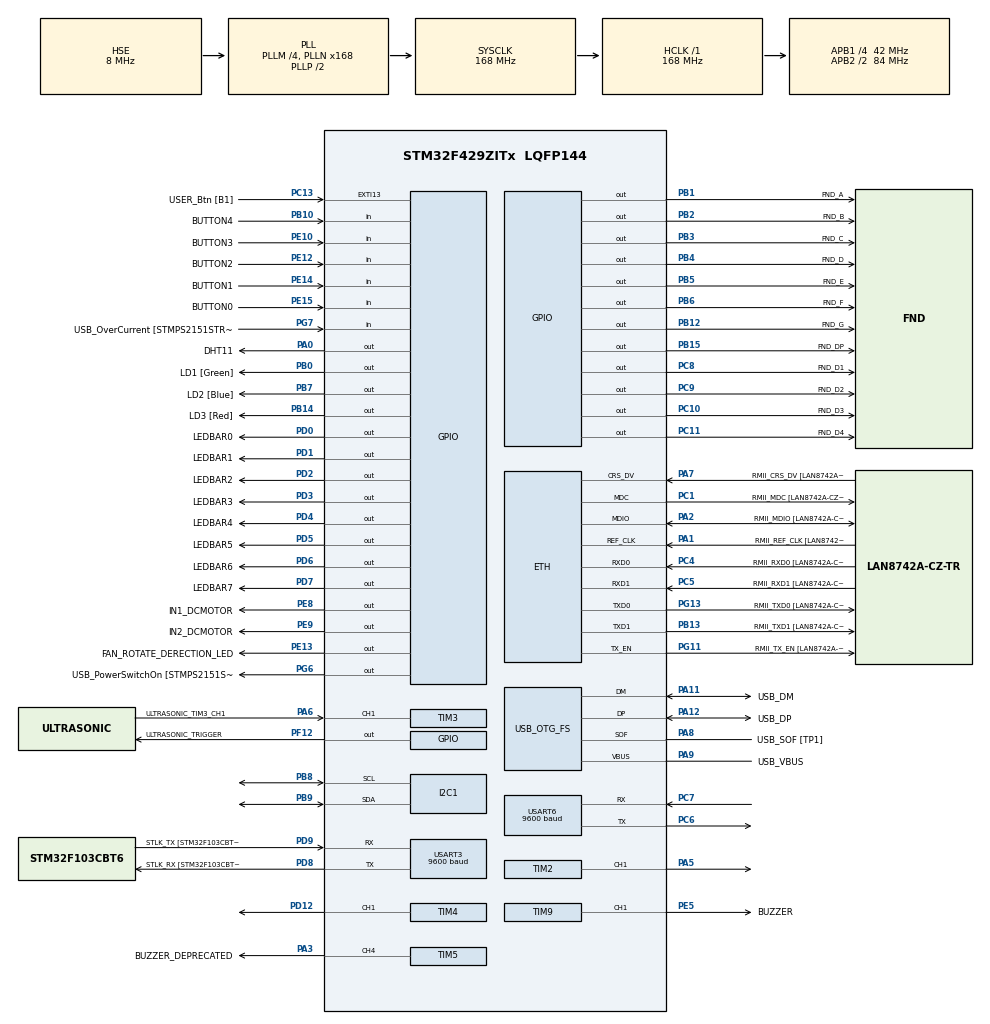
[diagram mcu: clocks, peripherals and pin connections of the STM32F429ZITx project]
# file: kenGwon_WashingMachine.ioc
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ETH.MediaInterface=HAL_ETH_RMII_MODE
ETH.PHY_Name=LAN8742A_PHY_ADDRESS
ETH.PHY_Value=0
ETH.PhyAddress=0
Mcu.Family=STM32F4
Mcu.Name=STM32F429ZITx
Mcu.Package=LQFP144
NVIC.PriorityGroup=NVIC_PRIORITYGROUP_4
NVIC.TIM1_BRK_TIM9_IRQn=true\:0\:0\:false\:false\:true\:true\:true\:true
NVIC.TIM1_TRG_COM_TIM11_IRQn=true\:0\:0\:false\:false\:true\:true\:true\:true
NVIC.TIM1_UP_TIM10_IRQn=true\:0\:0\:false\:false\:true\:true\:true\:true
NVIC.TIM2_IRQn=true\:0\:0\:false\:false\:true\:true\:true\:true
NVIC.TIM3_IRQn=true\:0\:0\:false\:false\:true\:true\:true\:true
NVIC.TIM5_IRQn=true\:0\:0\:false\:false\:true\:true\:true\:true
NVIC.USART3_IRQn=true\:0\:0\:false\:false\:true\:true\:true\:true
NVIC.USART6_IRQn=true\:0\:0\:false\:false\:true\:true\:true\:true
PA0/WKUP.GPIO_Label=DHT11
PA0/WKUP.Signal=GPIO_Output
PA1.GPIO_Label=RMII_REF_CLK [LAN8742A-CZ-TR_REFCLK0]
PA1.Mode=RMII
PA1.Signal=ETH_REF_CLK
PA10.GPIO_Label=USB_ID
PA10.Signal=USB_OTG_FS_ID
PA11.GPIO_Label=USB_DM
PA11.Mode=Device_Only
PA11.Signal=USB_OTG_FS_DM
PA12.GPIO_Label=USB_DP
PA12.Mode=Device_Only
PA12.Signal=USB_OTG_FS_DP
PA13.GPIO_Label=TMS
PA13.Mode=Serial_Wire
PA13.Signal=SYS_JTMS-SWDIO
PA14.GPIO_Label=TCK
PA14.Mode=Serial_Wire
PA14.Signal=SYS_JTCK-SWCLK
PA2.GPIO_Label=RMII_MDIO [LAN8742A-CZ-TR_MDIO]
PA2.Mode=RMII
PA2.Signal=ETH_MDIO
PA3.GPIO_Label=BUZZER_DEPRECATED
PA3.Signal=S_TIM5_CH4
PA5.Signal=S_TIM2_CH1_ETR
PA6.GPIO_Label=ULTRASONIC_TIM3_CH1
PA6.Signal=S_TIM3_CH1
PA7.GPIO_Label=RMII_CRS_DV [LAN8742A-CZ-TR_CRS_DV]
PA7.Mode=RMII
PA7.Signal=ETH_CRS_DV
PA8.GPIO_Label=USB_SOF [TP1]
PA8.Mode=Activate_SOF_FS
PA8.Signal=USB_OTG_FS_SOF
PA9.GPIO_Label=USB_VBUS
PA9.Mode=Activate_VBUS
PA9.Signal=USB_OTG_FS_VBUS
PB0.GPIO_Label=LD1 [Green]
PB0.Signal=GPIO_Output
PB1.GPIO_Label=FND_A
PB1.Signal=GPIO_Output
PB10.GPIO_Label=BUTTON4
PB10.Signal=GPIO_Input
PB12.GPIO_Label=FND_G
PB12.Signal=GPIO_Output
PB13.GPIO_Label=RMII_TXD1 [LAN8742A-CZ-TR_TXD1]
PB13.Mode=RMII
PB13.Signal=ETH_TXD1
PB14.GPIO_Label=LD3 [Red]
PB14.Signal=GPIO_Output
PB15.GPIO_Label=FND_DP
PB15.Signal=GPIO_Output
PB2/BOOT1.GPIO_Label=FND_B
PB2/BOOT1.Signal=GPIO_Output
PB3.GPIO_Label=FND_C
PB3.Signal=GPIO_Output
PB4.GPIO_Label=FND_D
PB4.Signal=GPIO_Output
PB5.GPIO_Label=FND_E
PB5.Signal=GPIO_Output
PB6.GPIO_Label=FND_F
PB6.Signal=GPIO_Output
PB7.GPIO_Label=LD2 [Blue]
PB7.Signal=GPIO_Output
PB8.Mode=I2C
PB8.Signal=I2C1_SCL
PB9.Mode=I2C
PB9.Signal=I2C1_SDA
PC1.GPIO_Label=RMII_MDC [LAN8742A-CZ-TR_MDC]
PC1.Mode=RMII
PC1.Signal=ETH_MDC
PC10.GPIO_Label=FND_D3
PC10.Signal=GPIO_Output
PC11.GPIO_Label=FND_D4
PC11.Signal=GPIO_Output
PC13.GPIO_Label=USER_Btn [B1]
PC13.Signal=GPXTI13
PC14/OSC32_IN.Mode=LSE-External-Oscillator
PC14/OSC32_IN.Signal=RCC_OSC32_IN
PC15/OSC32_OUT.Mode=LSE-External-Oscillator
PC15/OSC32_OUT.Signal=RCC_OSC32_OUT
PC4.GPIO_Label=RMII_RXD0 [LAN8742A-CZ-TR_RXD0]
PC4.Mode=RMII
PC4.Signal=ETH_RXD0
PC5.GPIO_Label=RMII_RXD1 [LAN8742A-CZ-TR_RXD1]
PC5.Mode=RMII
PC5.Signal=ETH_RXD1
PC6.Mode=Asynchronous
PC6.Signal=USART6_TX
PC7.Mode=Asynchronous
PC7.Signal=USART6_RX
PC8.GPIO_Label=FND_D1
PC8.Signal=GPIO_Output
PC9.GPIO_Label=FND_D2
PC9.Signal=GPIO_Output
PD0.GPIO_Label=LEDBAR0
PD0.Signal=GPIO_Output
PD1.GPIO_Label=LEDBAR1
PD1.Signal=GPIO_Output
PD12.Signal=S_TIM4_CH1
PD2.GPIO_Label=LEDBAR2
PD2.Signal=GPIO_Output
PD3.GPIO_Label=LEDBAR3
PD3.Signal=GPIO_Output
PD4.GPIO_Label=LEDBAR4
PD4.Signal=GPIO_Output
PD5.GPIO_Label=LEDBAR5
PD5.Signal=GPIO_Output
PD6.GPIO_Label=LEDBAR6
PD6.Signal=GPIO_Output
PD7.GPIO_Label=LEDBAR7
PD7.Signal=GPIO_Output
PD8.GPIO_Label=STLK_RX [STM32F103CBT6_PA3]
PD8.Mode=Asynchronous
PD8.Signal=USART3_TX
PD9.GPIO_Label=STLK_TX [STM32F103CBT6_PA2]
PD9.Mode=Asynchronous
PD9.Signal=USART3_RX
PE10.GPIO_Label=BUTTON3
PE10.Signal=GPIO_Input
PE12.GPIO_Label=BUTTON2
PE12.Signal=GPIO_Input
PE13.GPIO_Label=FAN_ROTATE_DERECTION_LED
PE13.Signal=GPIO_Output
PE14.GPIO_Label=BUTTON1
PE14.Signal=GPIO_Input
PE15.GPIO_Label=BUTTON0
PE15.Signal=GPIO_Input
PE5.GPIO_Label=BUZZER
PE5.Signal=S_TIM9_CH1
PE8.GPIO_Label=IN1_DCMOTOR
PE8.Signal=GPIO_Output
PE9.GPIO_Label=IN2_DCMOTOR
PE9.Signal=GPIO_Output
PF12.GPIO_Label=ULTRASONIC_TRIGGER
PF12.Signal=GPIO_Output
PG11.GPIO_Label=RMII_TX_EN [LAN8742A-CZ-TR_TXEN]
PG11.Mode=RMII
PG11.Signal=ETH_TX_EN
PG13.GPIO_Label=RMII_TXD0 [LAN8742A-CZ-TR_TXD0]
PG13.Mode=RMII
PG13.Signal=ETH_TXD0
PG6.GPIO_Label=USB_PowerSwitchOn [STMPS2151STR_EN]
PG6.Signal=GPIO_Output
PG7.GPIO_Label=USB_OverCurrent [STMPS2151STR_FAULT]
PG7.Signal=GPIO_Input
PH0/OSC_IN.GPIO_Label=MCO [STM32F103CBT6_PA8]
PH0/OSC_IN.Mode=HSE-External-Clock-Source
PH0/OSC_IN.Signal=RCC_OSC_IN
PH1/OSC_OUT.Mode=HSE-External-Clock-Source
PH1/OSC_OUT.Signal=RCC_OSC_OUT
ProjectManager.HeapSize=0x200
ProjectManager.StackSize=0x400
ProjectManager.TargetToolchain=STM32CubeIDE
RCC.48MHZClocksFreq_Value=48000000
RCC.AHBFreq_Value=168000000
RCC.APB1CLKDivider=RCC_HCLK_DIV4
RCC.APB1Freq_Value=42000000
RCC.APB1TimFreq_Value=84000000
RCC.APB2CLKDivider=RCC_HCLK_DIV2
RCC.APB2Freq_Value=84000000
RCC.APB2TimCLKDivider=2
RCC.APB2TimFreq_Value=168000000
RCC.CortexFreq_Value=168000000
RCC.HCLKFreq_Value=168000000
RCC.HSE_VALUE=8000000
RCC.HSI_VALUE=16000000
RCC.PLLM=4
RCC.PLLMUL=RCC_PLL_MUL9
RCC.PLLN=168
RCC.PLLQ=7
RCC.PRESCALERUSB=RCC_USBCLKSOURCE_PLL_DIV1_5
RCC.SYSCLKFreq_VALUE=168000000
RCC.SYSCLKSource=RCC_SYSCLKSOURCE_PLLCLK
RCC.SYSCLKSourceVirtual=RCC_SYSCLKSOURCE_PLLCLK
RCC.USBFreq_Value=48000000
RCC.VCOOutputFreq_Value=336000000
RTC.Date=16
RTC.Hours=8
RTC.Minutes=38
RTC.Month=RTC_MONTH_OCTOBER
RTC.Seconds=15
RTC.Year=23
SH.S_TIM2_CH1_ETR.0=TIM2_CH1,PWM Generation1 CH1
SH.S_TIM3_CH1.0=TIM3_CH1,Input_Capture1_from_TI1
SH.S_TIM4_CH1.0=TIM4_CH1,PWM Generation1 CH1
SH.S_TIM5_CH4.0=TIM5_CH4,PWM Generation4 CH4
SH.S_TIM9_CH1.0=TIM9_CH1,PWM Generation1 CH1
TIM10.Period=10000-1
TIM10.Prescaler=168-1
TIM11.Prescaler=168-1
TIM2.Channel-PWM\ Generation1\ CH1=TIM_CHANNEL_1
TIM2.Period=1000-1
TIM2.Prescaler=1680-1
TIM2.Pulse-PWM\ Generation1\ CH1=500-1
TIM3.Channel-Input_Capture1_from_TI1=TIM_CHANNEL_1
TIM3.ICPolarity_CH1=TIM_INPUTCHANNELPOLARITY_BOTHEDGE
TIM3.Prescaler=84-1
TIM4.Channel-PWM\ Generation1\ CH1=TIM_CHANNEL_1
TIM4.OCFastMode_PWM-PWM\ Generation1\ CH1=TIM_OCFAST_ENABLE
TIM4.Period=100-1
TIM4.Prescaler=840-1
TIM4.Pulse-PWM\ Generation1\ CH1=70-1
TIM5.Channel-PWM\ Generation4\ CH4=TIM_CHANNEL_4
TIM5.Period=400-1
TIM5.Prescaler=52.5-1
TIM9.Channel-PWM\ Generation1\ CH1=TIM_CHANNEL_1
TIM9.Period=400-1
TIM9.Prescaler=105-1
TIM9.Pulse-PWM\ Generation1\ CH1=200-1
USART3.BaudRate=9600
USART3.VirtualMode=VM_ASYNC
USART6.BaudRate=9600
USART6.VirtualMode=VM_ASYNC
USB_OTG_FS.VirtualMode=Device_Only
VP_RTC_VS_RTC_Activate.Mode=RTC_Enabled
VP_RTC_VS_RTC_Calendar.Mode=RTC_Calendar
VP_TIM10_VS_ClockSourceINT.Mode=Enable_Timer
VP_TIM11_VS_ClockSourceINT.Mode=Enable_Timer
VP_TIM4_VS_ClockSourceINT.Mode=Internal
VP_TIM5_VS_ClockSourceINT.Mode=Internal
VP_TIM9_VS_ClockSourceINT.Mode=Internal
board=NUCLEO-F429ZI

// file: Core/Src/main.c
/* USER CODE BEGIN Header */
/**
  ******************************************************************************
  * @file           : main.c
  * @brief          : Main program body
  ******************************************************************************
  * @attention
  *
  * Copyright (c) 2023 STMicroelectronics.
  * All rights reserved.
  *
  * This software is licensed under terms that can be found in the LICENSE file
  * in the root directory of this software component.
  * If no LICENSE file comes with this software, it is provided AS-IS.
  *
  ******************************************************************************
  */
/* USER CODE END Header */
#include "main.h"
#include "string.h"

/* USER CODE BEGIN Includes */

#include "washing_machine.h" // add_kenGwon_1016

/* USER CODE END Includes */

ETH_TxPacketConfig TxConfig;
ETH_DMADescTypeDef  DMARxDscrTab[ETH_RX_DESC_CNT]; /* Ethernet Rx DMA Descriptors */
ETH_DMADescTypeDef  DMATxDscrTab[ETH_TX_DESC_CNT]; /* Ethernet Tx DMA Descriptors */

ETH_HandleTypeDef heth;

I2C_HandleTypeDef hi2c1;

RTC_HandleTypeDef hrtc;

TIM_HandleTypeDef htim2;
TIM_HandleTypeDef htim3;
TIM_HandleTypeDef htim4;
TIM_HandleTypeDef htim5;
TIM_HandleTypeDef htim9;
TIM_HandleTypeDef htim10;
TIM_HandleTypeDef htim11;

UART_HandleTypeDef huart3;
UART_HandleTypeDef huart6;

PCD_HandleTypeDef hpcd_USB_OTG_FS;

void SystemClock_Config(void);
static void MX_GPIO_Init(void);
static void MX_ETH_Init(void);
static void MX_USART3_UART_Init(void);
static void MX_USB_OTG_FS_PCD_Init(void);
static void MX_TIM10_Init(void);
static void MX_TIM11_Init(void);
static void MX_I2C1_Init(void);
static void MX_TIM3_Init(void);
static void MX_TIM4_Init(void);
static void MX_TIM2_Init(void);
static void MX_USART6_UART_Init(void);
static void MX_RTC_Init(void);
static void MX_TIM5_Init(void);
static void MX_TIM9_Init(void);

/* USER CODE BEGIN 0 */

// ---------- call by SysTick_Handler of stm32f4xx_it.c ----------
// ARM default timer
// enter here every 1ms
volatile int fnd1ms_counter = 0;
void HAL_STSTICK_Handler(void)
{
	fnd1ms_counter++; // 1ms timer
}
// ---------- call by SysTick_Handler of stm32f4xx_it.c ----------

//----------  printf start ----------
#ifdef __GNUC__
/* With GCC, small printf (option LD Linker->Libraries->Small printf
   set to 'Yes') calls __io_putchar() */
#define PUTCHAR_PROTOTYPE int __io_putchar(int ch)
#else
#define PUTCHAR_PROTOTYPE int fputc(int ch, FILE *f)
#endif /* __GNUC_ */
/**
  * @brief  Retargets the C library printf function to the USART.
  * @param  None
  * @retval None
  */
PUTCHAR_PROTOTYPE   // Add for printf
{
  /* Place your implementation of fputc here */
  /* e.g. write a character to the USART3 and Loop until the end of transmission */
  HAL_UART_Transmit(&huart3, (uint8_t *)&ch, 1, 0xFFFF);

  return ch;
}
//----------  printf end ----------

/* USER CODE END 0 */

int main(void)
{

  /* MCU Configuration--------------------------------------------------------*/

  /* Reset of all peripherals, Initializes the Flash interface and the Systick. */
  HAL_Init();

  /* Configure the system clock */
  SystemClock_Config();

  /* Initialize all configured peripherals */
  MX_GPIO_Init();
  MX_ETH_Init();
  MX_USART3_UART_Init();
  MX_USB_OTG_FS_PCD_Init();
  MX_TIM10_Init();
  MX_TIM11_Init();
  MX_I2C1_Init();
  MX_TIM3_Init();
  MX_TIM4_Init();
  MX_TIM2_Init();
  MX_USART6_UART_Init();
  MX_RTC_Init();
  MX_TIM5_Init();
  MX_TIM9_Init();
  /* USER CODE BEGIN 2 */

  printf("enter main()!!!\n");

  WashingMachine_Init();

  /* USER CODE END 2 */

  /* Infinite loop */
  /* USER CODE BEGIN WHILE */
  while (1)
  {
	  WashingMachine_Processing();

    /* USER CODE END WHILE */

    /* USER CODE BEGIN 3 */
  }

  WashingMachine_Terminate();

  return 0;
  /* USER CODE END 3 */
}

void SystemClock_Config(void)
{
  RCC_OscInitTypeDef RCC_OscInitStruct = {0};
  RCC_ClkInitTypeDef RCC_ClkInitStruct = {0};

  /** Configure the main internal regulator output voltage
  */
  __HAL_RCC_PWR_CLK_ENABLE();
  __HAL_PWR_VOLTAGESCALING_CONFIG(PWR_REGULATOR_VOLTAGE_SCALE1);

  /** Initializes the RCC Oscillators according to the specified parameters
  * in the RCC_OscInitTypeDef structure.
  */
  RCC_OscInitStruct.OscillatorType = RCC_OSCILLATORTYPE_LSI|RCC_OSCILLATORTYPE_HSE;
  RCC_OscInitStruct.HSEState = RCC_HSE_BYPASS;
  RCC_OscInitStruct.LSIState = RCC_LSI_ON;
  RCC_OscInitStruct.PLL.PLLState = RCC_PLL_ON;
  RCC_OscInitStruct.PLL.PLLSource = RCC_PLLSOURCE_HSE;
  RCC_OscInitStruct.PLL.PLLM = 4;
  RCC_OscInitStruct.PLL.PLLN = 168;
  RCC_OscInitStruct.PLL.PLLP = RCC_PLLP_DIV2;
  RCC_OscInitStruct.PLL.PLLQ = 7;
  if (HAL_RCC_OscConfig(&RCC_OscInitStruct) != HAL_OK)
  {
    Error_Handler();
  }

  /** Initializes the CPU, AHB and APB buses clocks
  */
  RCC_ClkInitStruct.ClockType = RCC_CLOCKTYPE_HCLK|RCC_CLOCKTYPE_SYSCLK
                              |RCC_CLOCKTYPE_PCLK1|RCC_CLOCKTYPE_PCLK2;
  RCC_ClkInitStruct.SYSCLKSource = RCC_SYSCLKSOURCE_PLLCLK;
  RCC_ClkInitStruct.AHBCLKDivider = RCC_SYSCLK_DIV1;
  RCC_ClkInitStruct.APB1CLKDivider = RCC_HCLK_DIV4;
  RCC_ClkInitStruct.APB2CLKDivider = RCC_HCLK_DIV2;

  if (HAL_RCC_ClockConfig(&RCC_ClkInitStruct, FLASH_LATENCY_5) != HAL_OK)
  {
    Error_Handler();
  }
}

static void MX_ETH_Init(void)
{

   static uint8_t MACAddr[6];

  heth.Instance = ETH;
  MACAddr[0] = 0x00;
  MACAddr[1] = 0x80;
  MACAddr[2] = 0xE1;
  MACAddr[3] = 0x00;
  MACAddr[4] = 0x00;
  MACAddr[5] = 0x00;
  heth.Init.MACAddr = &MACAddr[0];
  heth.Init.MediaInterface = HAL_ETH_RMII_MODE;
  heth.Init.TxDesc = DMATxDscrTab;
  heth.Init.RxDesc = DMARxDscrTab;
  heth.Init.RxBuffLen = 1524;

  if (HAL_ETH_Init(&heth) != HAL_OK)
  {
    Error_Handler();
  }

  memset(&TxConfig, 0 , sizeof(ETH_TxPacketConfig));
  TxConfig.Attributes = ETH_TX_PACKETS_FEATURES_CSUM | ETH_TX_PACKETS_FEATURES_CRCPAD;
  TxConfig.ChecksumCtrl = ETH_CHECKSUM_IPHDR_PAYLOAD_INSERT_PHDR_CALC;
  TxConfig.CRCPadCtrl = ETH_CRC_PAD_INSERT;

}

static void MX_I2C1_Init(void)
{

  hi2c1.Instance = I2C1;
  hi2c1.Init.ClockSpeed = 100000;
  hi2c1.Init.DutyCycle = I2C_DUTYCYCLE_2;
  hi2c1.Init.OwnAddress1 = 0;
  hi2c1.Init.AddressingMode = I2C_ADDRESSINGMODE_7BIT;
  hi2c1.Init.DualAddressMode = I2C_DUALADDRESS_DISABLE;
  hi2c1.Init.OwnAddress2 = 0;
  hi2c1.Init.GeneralCallMode = I2C_GENERALCALL_DISABLE;
  hi2c1.Init.NoStretchMode = I2C_NOSTRETCH_DISABLE;
  if (HAL_I2C_Init(&hi2c1) != HAL_OK)
  {
    Error_Handler();
  }

  /** Configure Analogue filter
  */
  if (HAL_I2CEx_ConfigAnalogFilter(&hi2c1, I2C_ANALOGFILTER_ENABLE) != HAL_OK)
  {
    Error_Handler();
  }

  /** Configure Digital filter
  */
  if (HAL_I2CEx_ConfigDigitalFilter(&hi2c1, 0) != HAL_OK)
  {
    Error_Handler();
  }

}

static void MX_RTC_Init(void)
{

  RTC_TimeTypeDef sTime = {0};
  RTC_DateTypeDef sDate = {0};

  /** Initialize RTC Only
  */
  hrtc.Instance = RTC;
  hrtc.Init.HourFormat = RTC_HOURFORMAT_24;
  hrtc.Init.AsynchPrediv = 127;
  hrtc.Init.SynchPrediv = 255;
  hrtc.Init.OutPut = RTC_OUTPUT_DISABLE;
  hrtc.Init.OutPutPolarity = RTC_OUTPUT_POLARITY_HIGH;
  hrtc.Init.OutPutType = RTC_OUTPUT_TYPE_OPENDRAIN;
  if (HAL_RTC_Init(&hrtc) != HAL_OK)
  {
    Error_Handler();
  }

  /** Initialize RTC and set the Time and Date
  */
  sTime.Hours = 0x8;
  sTime.Minutes = 0x38;
  sTime.Seconds = 0x15;
  sTime.DayLightSaving = RTC_DAYLIGHTSAVING_NONE;
  sTime.StoreOperation = RTC_STOREOPERATION_RESET;
  if (HAL_RTC_SetTime(&hrtc, &sTime, RTC_FORMAT_BCD) != HAL_OK)
  {
    Error_Handler();
  }
  sDate.WeekDay = RTC_WEEKDAY_MONDAY;
  sDate.Month = RTC_MONTH_OCTOBER;
  sDate.Date = 0x16;
  sDate.Year = 0x23;

  if (HAL_RTC_SetDate(&hrtc, &sDate, RTC_FORMAT_BCD) != HAL_OK)
  {
    Error_Handler();
  }

}

static void MX_TIM2_Init(void)
{

  TIM_MasterConfigTypeDef sMasterConfig = {0};
  TIM_OC_InitTypeDef sConfigOC = {0};

  htim2.Instance = TIM2;
  htim2.Init.Prescaler = 1680-1;
  htim2.Init.CounterMode = TIM_COUNTERMODE_UP;
  htim2.Init.Period = 1000-1;
  htim2.Init.ClockDivision = TIM_CLOCKDIVISION_DIV1;
  htim2.Init.AutoReloadPreload = TIM_AUTORELOAD_PRELOAD_DISABLE;
  if (HAL_TIM_PWM_Init(&htim2) != HAL_OK)
  {
    Error_Handler();
  }
  sMasterConfig.MasterOutputTrigger = TIM_TRGO_RESET;
  sMasterConfig.MasterSlaveMode = TIM_MASTERSLAVEMODE_DISABLE;
  if (HAL_TIMEx_MasterConfigSynchronization(&htim2, &sMasterConfig) != HAL_OK)
  {
    Error_Handler();
  }
  sConfigOC.OCMode = TIM_OCMODE_PWM1;
  sConfigOC.Pulse = 500-1;
  sConfigOC.OCPolarity = TIM_OCPOLARITY_HIGH;
  sConfigOC.OCFastMode = TIM_OCFAST_DISABLE;
  if (HAL_TIM_PWM_ConfigChannel(&htim2, &sConfigOC, TIM_CHANNEL_1) != HAL_OK)
  {
    Error_Handler();
  }
  HAL_TIM_MspPostInit(&htim2);

}

static void MX_TIM3_Init(void)
{

  TIM_MasterConfigTypeDef sMasterConfig = {0};
  TIM_IC_InitTypeDef sConfigIC = {0};

  htim3.Instance = TIM3;
  htim3.Init.Prescaler = 84-1;
  htim3.Init.CounterMode = TIM_COUNTERMODE_UP;
  htim3.Init.Period = 65535;
  htim3.Init.ClockDivision = TIM_CLOCKDIVISION_DIV1;
  htim3.Init.AutoReloadPreload = TIM_AUTORELOAD_PRELOAD_DISABLE;
  if (HAL_TIM_IC_Init(&htim3) != HAL_OK)
  {
    Error_Handler();
  }
  sMasterConfig.MasterOutputTrigger = TIM_TRGO_RESET;
  sMasterConfig.MasterSlaveMode = TIM_MASTERSLAVEMODE_DISABLE;
  if (HAL_TIMEx_MasterConfigSynchronization(&htim3, &sMasterConfig) != HAL_OK)
  {
    Error_Handler();
  }
  sConfigIC.ICPolarity = TIM_INPUTCHANNELPOLARITY_BOTHEDGE;
  sConfigIC.ICSelection = TIM_ICSELECTION_DIRECTTI;
  sConfigIC.ICPrescaler = TIM_ICPSC_DIV1;
  sConfigIC.ICFilter = 0;
  if (HAL_TIM_IC_ConfigChannel(&htim3, &sConfigIC, TIM_CHANNEL_1) != HAL_OK)
  {
    Error_Handler();
  }

}

static void MX_TIM4_Init(void)
{

  TIM_ClockConfigTypeDef sClockSourceConfig = {0};
  TIM_MasterConfigTypeDef sMasterConfig = {0};
  TIM_OC_InitTypeDef sConfigOC = {0};

  htim4.Instance = TIM4;
  htim4.Init.Prescaler = 840-1;
  htim4.Init.CounterMode = TIM_COUNTERMODE_UP;
  htim4.Init.Period = 100-1;
  htim4.Init.ClockDivision = TIM_CLOCKDIVISION_DIV1;
  htim4.Init.AutoReloadPreload = TIM_AUTORELOAD_PRELOAD_DISABLE;
  if (HAL_TIM_Base_Init(&htim4) != HAL_OK)
  {
    Error_Handler();
  }
  sClockSourceConfig.ClockSource = TIM_CLOCKSOURCE_INTERNAL;
  if (HAL_TIM_ConfigClockSource(&htim4, &sClockSourceConfig) != HAL_OK)
  {
    Error_Handler();
  }
  if (HAL_TIM_PWM_Init(&htim4) != HAL_OK)
  {
    Error_Handler();
  }
  sMasterConfig.MasterOutputTrigger = TIM_TRGO_RESET;
  sMasterConfig.MasterSlaveMode = TIM_MASTERSLAVEMODE_DISABLE;
  if (HAL_TIMEx_MasterConfigSynchronization(&htim4, &sMasterConfig) != HAL_OK)
  {
    Error_Handler();
  }
  sConfigOC.OCMode = TIM_OCMODE_PWM1;
  sConfigOC.Pulse = 70-1;
  sConfigOC.OCPolarity = TIM_OCPOLARITY_HIGH;
  sConfigOC.OCFastMode = TIM_OCFAST_ENABLE;
  if (HAL_TIM_PWM_ConfigChannel(&htim4, &sConfigOC, TIM_CHANNEL_1) != HAL_OK)
  {
    Error_Handler();
  }
  HAL_TIM_MspPostInit(&htim4);

}

static void MX_TIM5_Init(void)
{

  TIM_ClockConfigTypeDef sClockSourceConfig = {0};
  TIM_MasterConfigTypeDef sMasterConfig = {0};
  TIM_OC_InitTypeDef sConfigOC = {0};

  htim5.Instance = TIM5;
  htim5.Init.Prescaler = 52.5-1;
  htim5.Init.CounterMode = TIM_COUNTERMODE_UP;
  htim5.Init.Period = 400-1;
  htim5.Init.ClockDivision = TIM_CLOCKDIVISION_DIV1;
  htim5.Init.AutoReloadPreload = TIM_AUTORELOAD_PRELOAD_DISABLE;
  if (HAL_TIM_Base_Init(&htim5) != HAL_OK)
  {
    Error_Handler();
  }
  sClockSourceConfig.ClockSource = TIM_CLOCKSOURCE_INTERNAL;
  if (HAL_TIM_ConfigClockSource(&htim5, &sClockSourceConfig) != HAL_OK)
  {
    Error_Handler();
  }
  if (HAL_TIM_PWM_Init(&htim5) != HAL_OK)
  {
    Error_Handler();
  }
  sMasterConfig.MasterOutputTrigger = TIM_TRGO_RESET;
  sMasterConfig.MasterSlaveMode = TIM_MASTERSLAVEMODE_DISABLE;
  if (HAL_TIMEx_MasterConfigSynchronization(&htim5, &sMasterConfig) != HAL_OK)
  {
    Error_Handler();
  }
  sConfigOC.OCMode = TIM_OCMODE_PWM1;
  sConfigOC.Pulse = 0;
  sConfigOC.OCPolarity = TIM_OCPOLARITY_HIGH;
  sConfigOC.OCFastMode = TIM_OCFAST_DISABLE;
  if (HAL_TIM_PWM_ConfigChannel(&htim5, &sConfigOC, TIM_CHANNEL_4) != HAL_OK)
  {
    Error_Handler();
  }
  HAL_TIM_MspPostInit(&htim5);

}

static void MX_TIM9_Init(void)
{

  TIM_ClockConfigTypeDef sClockSourceConfig = {0};
  TIM_OC_InitTypeDef sConfigOC = {0};

  htim9.Instance = TIM9;
  htim9.Init.Prescaler = 105-1;
  htim9.Init.CounterMode = TIM_COUNTERMODE_UP;
  htim9.Init.Period = 400-1;
  htim9.Init.ClockDivision = TIM_CLOCKDIVISION_DIV1;
  htim9.Init.AutoReloadPreload = TIM_AUTORELOAD_PRELOAD_DISABLE;
  if (HAL_TIM_Base_Init(&htim9) != HAL_OK)
  {
    Error_Handler();
  }
  sClockSourceConfig.ClockSource = TIM_CLOCKSOURCE_INTERNAL;
  if (HAL_TIM_ConfigClockSource(&htim9, &sClockSourceConfig) != HAL_OK)
  {
    Error_Handler();
  }
  if (HAL_TIM_PWM_Init(&htim9) != HAL_OK)
  {
    Error_Handler();
  }
  sConfigOC.OCMode = TIM_OCMODE_PWM1;
  sConfigOC.Pulse = 200-1;
  sConfigOC.OCPolarity = TIM_OCPOLARITY_HIGH;
  sConfigOC.OCFastMode = TIM_OCFAST_DISABLE;
  if (HAL_TIM_PWM_ConfigChannel(&htim9, &sConfigOC, TIM_CHANNEL_1) != HAL_OK)
  {
    Error_Handler();
  }
  HAL_TIM_MspPostInit(&htim9);

}

static void MX_TIM10_Init(void)
{

  htim10.Instance = TIM10;
  htim10.Init.Prescaler = 168-1;
  htim10.Init.CounterMode = TIM_COUNTERMODE_UP;
  htim10.Init.Period = 10000-1;
  htim10.Init.ClockDivision = TIM_CLOCKDIVISION_DIV1;
  htim10.Init.AutoReloadPreload = TIM_AUTORELOAD_PRELOAD_DISABLE;
  if (HAL_TIM_Base_Init(&htim10) != HAL_OK)
  {
    Error_Handler();
  }

}

static void MX_TIM11_Init(void)
{

  htim11.Instance = TIM11;
  htim11.Init.Prescaler = 168-1;
  htim11.Init.CounterMode = TIM_COUNTERMODE_UP;
  htim11.Init.Period = 65535;
  htim11.Init.ClockDivision = TIM_CLOCKDIVISION_DIV1;
  htim11.Init.AutoReloadPreload = TIM_AUTORELOAD_PRELOAD_DISABLE;
  if (HAL_TIM_Base_Init(&htim11) != HAL_OK)
  {
    Error_Handler();
  }

}

static void MX_USART3_UART_Init(void)
{

  huart3.Instance = USART3;
  huart3.Init.BaudRate = 9600;
  huart3.Init.WordLength = UART_WORDLENGTH_8B;
  huart3.Init.StopBits = UART_STOPBITS_1;
  huart3.Init.Parity = UART_PARITY_NONE;
  huart3.Init.Mode = UART_MODE_TX_RX;
  huart3.Init.HwFlowCtl = UART_HWCONTROL_NONE;
  huart3.Init.OverSampling = UART_OVERSAMPLING_16;
  if (HAL_UART_Init(&huart3) != HAL_OK)
  {
    Error_Handler();
  }

}

static void MX_USART6_UART_Init(void)
{

  huart6.Instance = USART6;
  huart6.Init.BaudRate = 9600;
  huart6.Init.WordLength = UART_WORDLENGTH_8B;
  huart6.Init.StopBits = UART_STOPBITS_1;
  huart6.Init.Parity = UART_PARITY_NONE;
  huart6.Init.Mode = UART_MODE_TX_RX;
  huart6.Init.HwFlowCtl = UART_HWCONTROL_NONE;
  huart6.Init.OverSampling = UART_OVERSAMPLING_16;
  if (HAL_UART_Init(&huart6) != HAL_OK)
  {
    Error_Handler();
  }

}

static void MX_USB_OTG_FS_PCD_Init(void)
{

  hpcd_USB_OTG_FS.Instance = USB_OTG_FS;
  hpcd_USB_OTG_FS.Init.dev_endpoints = 4;
  hpcd_USB_OTG_FS.Init.speed = PCD_SPEED_FULL;
  hpcd_USB_OTG_FS.Init.dma_enable = DISABLE;
  hpcd_USB_OTG_FS.Init.phy_itface = PCD_PHY_EMBEDDED;
  hpcd_USB_OTG_FS.Init.Sof_enable = ENABLE;
  hpcd_USB_OTG_FS.Init.low_power_enable = DISABLE;
  hpcd_USB_OTG_FS.Init.lpm_enable = DISABLE;
  hpcd_USB_OTG_FS.Init.vbus_sensing_enable = ENABLE;
  hpcd_USB_OTG_FS.Init.use_dedicated_ep1 = DISABLE;
  if (HAL_PCD_Init(&hpcd_USB_OTG_FS) != HAL_OK)
  {
    Error_Handler();
  }

}

static void MX_GPIO_Init(void)
{
  GPIO_InitTypeDef GPIO_InitStruct = {0};

  /* GPIO Ports Clock Enable */
  __HAL_RCC_GPIOE_CLK_ENABLE();
  __HAL_RCC_GPIOC_CLK_ENABLE();
  __HAL_RCC_GPIOH_CLK_ENABLE();
  __HAL_RCC_GPIOA_CLK_ENABLE();
  __HAL_RCC_GPIOB_CLK_ENABLE();
  __HAL_RCC_GPIOF_CLK_ENABLE();
  __HAL_RCC_GPIOD_CLK_ENABLE();
  __HAL_RCC_GPIOG_CLK_ENABLE();

  /*Configure GPIO pin Output Level */
  HAL_GPIO_WritePin(DHT11_GPIO_Port, DHT11_Pin, GPIO_PIN_RESET);

  /*Configure GPIO pin Output Level */
  HAL_GPIO_WritePin(GPIOB, LD1_Pin|FND_A_Pin|FND_B_Pin|FND_G_Pin
                          |LD3_Pin|FND_DP_Pin|FND_C_Pin|FND_D_Pin
                          |FND_E_Pin|FND_F_Pin|LD2_Pin, GPIO_PIN_RESET);

  /*Configure GPIO pin Output Level */
  HAL_GPIO_WritePin(ULTRASONIC_TRIGGER_GPIO_Port, ULTRASONIC_TRIGGER_Pin, GPIO_PIN_RESET);

  /*Configure GPIO pin Output Level */
  HAL_GPIO_WritePin(GPIOE, IN1_DCMOTOR_Pin|IN2_DCMOTOR_Pin|FAN_ROTATE_DERECTION_LED_Pin, GPIO_PIN_RESET);

  /*Configure GPIO pin Output Level */
  HAL_GPIO_WritePin(USB_PowerSwitchOn_GPIO_Port, USB_PowerSwitchOn_Pin, GPIO_PIN_RESET);

  /*Configure GPIO pin Output Level */
  HAL_GPIO_WritePin(GPIOC, FND_D1_Pin|FND_D2_Pin|FND_D3_Pin|FND_D4_Pin, GPIO_PIN_RESET);

  /*Configure GPIO pin Output Level */
  HAL_GPIO_WritePin(GPIOD, LEDBAR0_Pin|LEDBAR1_Pin|LEDBAR2_Pin|LEDBAR3_Pin
                          |LEDBAR4_Pin|LEDBAR5_Pin|LEDBAR6_Pin|LEDBAR7_Pin, GPIO_PIN_RESET);

  /*Configure GPIO pin : USER_Btn_Pin */
  GPIO_InitStruct.Pin = USER_Btn_Pin;
  GPIO_InitStruct.Mode = GPIO_MODE_IT_RISING;
  GPIO_InitStruct.Pull = GPIO_NOPULL;
  HAL_GPIO_Init(USER_Btn_GPIO_Port, &GPIO_InitStruct);

  /*Configure GPIO pin : DHT11_Pin */
  GPIO_InitStruct.Pin = DHT11_Pin;
  GPIO_InitStruct.Mode = GPIO_MODE_OUTPUT_PP;
  GPIO_InitStruct.Pull = GPIO_NOPULL;
  GPIO_InitStruct.Speed = GPIO_SPEED_FREQ_LOW;
  HAL_GPIO_Init(DHT11_GPIO_Port, &GPIO_InitStruct);

  /*Configure GPIO pins : LD1_Pin FND_A_Pin FND_B_Pin FND_G_Pin
                           LD3_Pin FND_DP_Pin FND_C_Pin FND_D_Pin
                           FND_E_Pin FND_F_Pin LD2_Pin */
  GPIO_InitStruct.Pin = LD1_Pin|FND_A_Pin|FND_B_Pin|FND_G_Pin
                          |LD3_Pin|FND_DP_Pin|FND_C_Pin|FND_D_Pin
                          |FND_E_Pin|FND_F_Pin|LD2_Pin;
  GPIO_InitStruct.Mode = GPIO_MODE_OUTPUT_PP;
  GPIO_InitStruct.Pull = GPIO_NOPULL;
  GPIO_InitStruct.Speed = GPIO_SPEED_FREQ_LOW;
  HAL_GPIO_Init(GPIOB, &GPIO_InitStruct);

  /*Configure GPIO pin : ULTRASONIC_TRIGGER_Pin */
  GPIO_InitStruct.Pin = ULTRASONIC_TRIGGER_Pin;
  GPIO_InitStruct.Mode = GPIO_MODE_OUTPUT_PP;
  GPIO_InitStruct.Pull = GPIO_NOPULL;
  GPIO_InitStruct.Speed = GPIO_SPEED_FREQ_LOW;
  HAL_GPIO_Init(ULTRASONIC_TRIGGER_GPIO_Port, &GPIO_InitStruct);

  /*Configure GPIO pins : IN1_DCMOTOR_Pin IN2_DCMOTOR_Pin FAN_ROTATE_DERECTION_LED_Pin */
  GPIO_InitStruct.Pin = IN1_DCMOTOR_Pin|IN2_DCMOTOR_Pin|FAN_ROTATE_DERECTION_LED_Pin;
  GPIO_InitStruct.Mode = GPIO_MODE_OUTPUT_PP;
  GPIO_InitStruct.Pull = GPIO_NOPULL;
  GPIO_InitStruct.Speed = GPIO_SPEED_FREQ_LOW;
  HAL_GPIO_Init(GPIOE, &GPIO_InitStruct);

  /*Configure GPIO pins : BUTTON3_Pin BUTTON2_Pin BUTTON1_Pin BUTTON0_Pin */
  GPIO_InitStruct.Pin = BUTTON3_Pin|BUTTON2_Pin|BUTTON1_Pin|BUTTON0_Pin;
  GPIO_InitStruct.Mode = GPIO_MODE_INPUT;
  GPIO_InitStruct.Pull = GPIO_NOPULL;
  HAL_GPIO_Init(GPIOE, &GPIO_InitStruct);

  /*Configure GPIO pin : BUTTON4_Pin */
  GPIO_InitStruct.Pin = BUTTON4_Pin;
  GPIO_InitStruct.Mode = GPIO_MODE_INPUT;
  GPIO_InitStruct.Pull = GPIO_NOPULL;
  HAL_GPIO_Init(BUTTON4_GPIO_Port, &GPIO_InitStruct);

  /*Configure GPIO pin : USB_PowerSwitchOn_Pin */
  GPIO_InitStruct.Pin = USB_PowerSwitchOn_Pin;
  GPIO_InitStruct.Mode = GPIO_MODE_OUTPUT_PP;
  GPIO_InitStruct.Pull = GPIO_NOPULL;
  GPIO_InitStruct.Speed = GPIO_SPEED_FREQ_LOW;
  HAL_GPIO_Init(USB_PowerSwitchOn_GPIO_Port, &GPIO_InitStruct);

  /*Configure GPIO pin : USB_OverCurrent_Pin */
  GPIO_InitStruct.Pin = USB_OverCurrent_Pin;
  GPIO_InitStruct.Mode = GPIO_MODE_INPUT;
  GPIO_InitStruct.Pull = GPIO_NOPULL;
  HAL_GPIO_Init(USB_OverCurrent_GPIO_Port, &GPIO_InitStruct);

  /*Configure GPIO pins : FND_D1_Pin FND_D2_Pin FND_D3_Pin FND_D4_Pin */
  GPIO_InitStruct.Pin = FND_D1_Pin|FND_D2_Pin|FND_D3_Pin|FND_D4_Pin;
  GPIO_InitStruct.Mode = GPIO_MODE_OUTPUT_PP;
  GPIO_InitStruct.Pull = GPIO_NOPULL;
  GPIO_InitStruct.Speed = GPIO_SPEED_FREQ_LOW;
  HAL_GPIO_Init(GPIOC, &GPIO_InitStruct);

  /*Configure GPIO pins : LEDBAR0_Pin LEDBAR1_Pin LEDBAR2_Pin LEDBAR3_Pin
                           LEDBAR4_Pin LEDBAR5_Pin LEDBAR6_Pin LEDBAR7_Pin */
  GPIO_InitStruct.Pin = LEDBAR0_Pin|LEDBAR1_Pin|LEDBAR2_Pin|LEDBAR3_Pin
                          |LEDBAR4_Pin|LEDBAR5_Pin|LEDBAR6_Pin|LEDBAR7_Pin;
  GPIO_InitStruct.Mode = GPIO_MODE_OUTPUT_PP;
  GPIO_InitStruct.Pull = GPIO_NOPULL;
  GPIO_InitStruct.Speed = GPIO_SPEED_FREQ_LOW;
  HAL_GPIO_Init(GPIOD, &GPIO_InitStruct);

}

void Error_Handler(void)
{
  __disable_irq();
  while (1)
  {
  }
}
